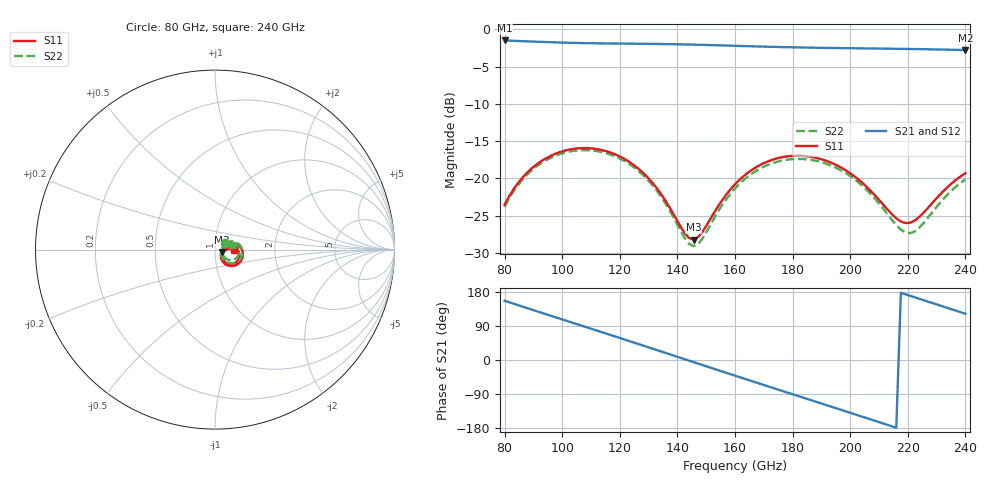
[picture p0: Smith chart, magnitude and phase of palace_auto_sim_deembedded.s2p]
! Created with skrf 1.11.0 (http://scikit-rf.org).
# GHz S DB R 50.0
!freq dBS11 angS11 dBS21 angS21 dBS12 angS12 dBS22 angS22
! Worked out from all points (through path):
!   101 points, 80 GHz to 240 GHz, reference 50 ohm
!   highest |S21| = -1.48 dB at 80 GHz (marker M1); lowest = -2.8 dB at 240 GHz (marker M2)
!   group delay of S21, straight-line fit = 6.85 ps
!   lowest |S11| = -28.2 dB at 145.6 GHz (marker M3), VSWR 1.08, Z = 53.8 - j1.44 ohm
!   |S11| at or under -10 dB: start of sweep to end of sweep
!   |S22| runs from -29.1 to -16.2 dB; largest |S21 - S12| = 1.3e-13
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80  -23.54 26.7  -1.48 156.3  -1.48 156.3  -23.83 32.2
86.4  -19.82 21.6  -1.58 140.4  -1.58 140.4  -20.09 27.4
94.4  -17.30 8.6  -1.70 120.8  -1.70 120.8  -17.57 14.9
100.8  -16.29 -3.3  -1.77 105.1  -1.77 105.1  -16.56 3.4
107.2  -15.94 -15.6  -1.83 89.5  -1.83 89.5  -16.21 -8.5
113.6  -16.19 -27.9  -1.87 73.9  -1.87 73.9  -16.46 -20.5
120  -17.06 -39.7  -1.90 58.1  -1.90 58.1  -17.35 -32.0
128  -19.24 -52.2  -1.93 38.3  -1.93 38.3  -19.53 -44.3
134.4  -22.16 -57.2  -1.96 22.4  -1.96 22.4  -22.49 -49.5
142.4  -27.29 -40.8  -2.01 2.4  -2.01 2.4  -27.94 -33.6
145.6  -28.22 -20.2  -2.04 -5.6  -2.04 -5.6  -29.12 -11.8
152  -25.09 10.2  -2.11 -21.5  -2.11 -21.5  -25.86 21.8
160  -20.80 12.2  -2.20 -41.3  -2.20 -41.3  -21.36 24.5
168  -18.36 2.3  -2.29 -61.0  -2.29 -61.0  -18.85 14.9
174.4  -17.34 -8.0  -2.35 -76.7  -2.35 -76.7  -17.80 4.8
187.2  -17.17 -29.5  -2.45 -108.0  -2.45 -108.0  -17.58 -16.4
201.6  -19.77 -48.9  -2.53 -143.2  -2.53 -143.2  -20.15 -36.2
214.4  -24.79 -43.4  -2.59 -174.8  -2.59 -174.8  -25.54 -33.0
219.2  -26.01 -26.6  -2.62 173.4  -2.62 173.4  -27.28 -15.2
222.4  -25.68 -13.6  -2.64 165.5  -2.64 165.5  -27.14 0.3
230.4  -22.50 2.2  -2.69 145.7  -2.69 145.7  -23.65 20.1
240  -19.31 -2.5  -2.77 122.1  -2.77 122.1  -20.14 16.0
